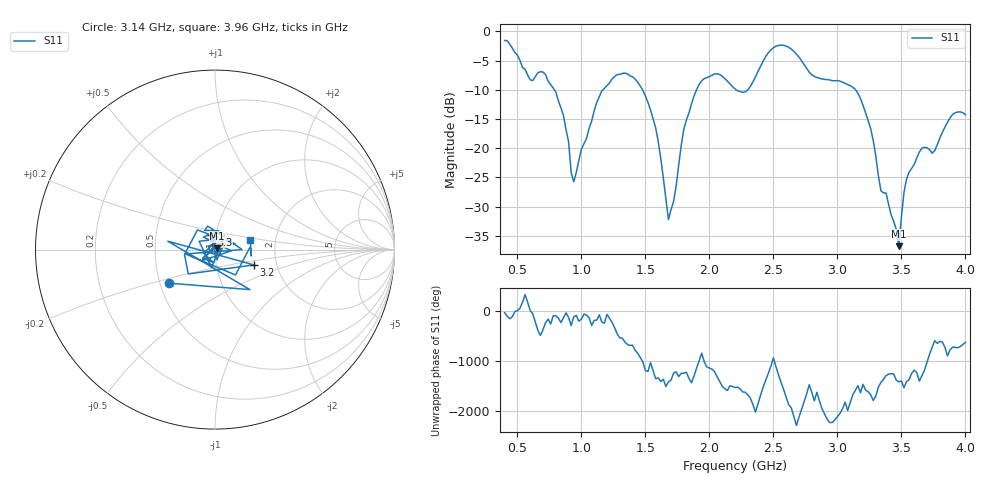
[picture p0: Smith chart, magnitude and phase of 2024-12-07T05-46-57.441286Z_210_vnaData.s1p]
!Created with skrf (http://scikit-rf.org).
# Hz S RI R 50.0
!freq ReS11 ImS11
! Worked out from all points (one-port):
!   181 points, 400 MHz to 4 GHz, reference 50 ohm
!   lowest |S11| = -36.8 dB at 3.48 GHz (marker M1), VSWR 1.03, Z = 51.3 + j0.717 ohm
!   |S11| at or under -10 dB: 788.8 MHz to 1.169 GHz (379.7 MHz wide, 38.8 % of centre); 1.478 GHz to 1.9 GHz (421.3 MHz wide, 24.9 % of centre); 3.142 GHz to end of sweep (the widest 3 of 4)
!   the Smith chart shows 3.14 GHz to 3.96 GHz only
!   S11 on the Smith chart (normalised r, x): 3.14 GHz: 0.56, -0.23; 3.2 GHz: 1.52, -0.27; 3.3 GHz: 0.95, +0.16; 3.96 GHz: 1.48, +0.17
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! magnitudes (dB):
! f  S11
! 400 MHz  -1.6
! 600 MHz  -8.3
! 720 MHz  -7.4
! 860 MHz  -14.4
! 940 MHz  -25.7
! 1.12 GHz  -12.2
! 1.3 GHz  -7.4
! 1.54 GHz  -13.4
! 1.6 GHz  -18.8
! 1.68 GHz  -32.2
! 1.76 GHz  -22.9
! 1.8 GHz  -16.8
! 1.94 GHz  -8.4
! 2.2 GHz  -9.9
! 2.3 GHz  -10.0
! 2.5 GHz  -2.8
! 2.66 GHz  -3.4
! 3.1 GHz  -9.3
! 3.14 GHz  -9.9
! 3.2 GHz  -12.6
! 3.3 GHz  -21.3
! 3.34 GHz  -27.3
! 3.38 GHz  -27.7
! 3.48 GHz  -36.8
! 3.52 GHz  -27.6
! 3.56 GHz  -24.1
! 3.96 GHz  -13.8
! 4 GHz  -14.3
